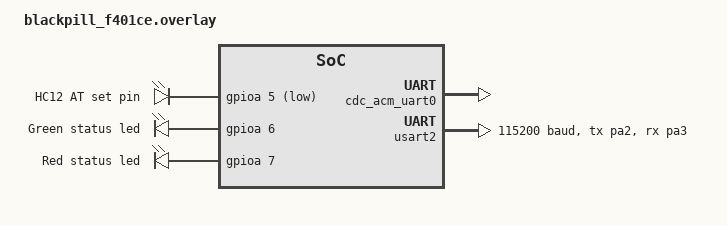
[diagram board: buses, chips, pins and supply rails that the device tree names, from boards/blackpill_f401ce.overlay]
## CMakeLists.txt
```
cmake_path(GET CMAKE_SOURCE_DIR PARENT_PATH PARENT_DIR)
list(APPEND ZEPHYR_EXTRA_MODULES ${PARENT_DIR}/custom_drivers)

cmake_minimum_required(VERSION 3.20.0)
find_package(Zephyr REQUIRED HINTS $ENV{ZEPHYR_BASE})
project(transmitter)

FILE(GLOB app_sources src/*.c*)
target_sources(app PRIVATE ${app_sources})
```

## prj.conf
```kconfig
# gpio
CONFIG_GPIO=y

# logging
CONFIG_LOG=y
CONFIG_LOG_DEFAULT_LEVEL=0

# uart settings
CONFIG_SERIAL=y
CONFIG_UART_INTERRUPT_DRIVEN=y
CONFIG_UART_LINE_CTRL=y

# events
CONFIG_EVENTS=y

# custom drivers
CONFIG_COMMAND_LIB=y
CONFIG_COMMAND_UART=y
```

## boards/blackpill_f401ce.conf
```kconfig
# usb settings for blackpill
CONFIG_USB_DEVICE_STACK=y
CONFIG_USB_DEVICE_PRODUCT="Killer robot transmitter"
```

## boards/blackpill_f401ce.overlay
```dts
/ {
	chosen {
        zephyr,console = &cdc_acm_uart0;
	};

    aliases {
        green-led = &green_led;
        red-led = &red_led;
        hc12 = &usart2;
        hc12-set = &hc12_set;
        usb = &cdc_acm_uart0;
     };
    
    pins {
        compatible = "gpio-leds";
        hc12_set: hc12_set {
            label = "HC12 AT set pin";
            gpios = <&gpioa 5 GPIO_ACTIVE_LOW>;
        };
        green_led: green_led {
            label = "Green status led";
            gpios = <&gpioa 6 GPIO_ACTIVE_HIGH>;
        };
        red_led: red_led {
            label = "Red status led";
            gpios = <&gpioa 7 GPIO_ACTIVE_HIGH>;
        };
    };
};

&zephyr_udc0 {
	cdc_acm_uart0: cdc_acm_uart0 {
		compatible = "zephyr,cdc-acm-uart";
		label = "CDC_ACM_0";
	};
};

&usart2 {
    pinctrl-0 = <&usart2_tx_pa2 &usart2_rx_pa3>;
    pinctrl-names = "default";
    status = "okay";
    current-speed = <115200>;
};
```

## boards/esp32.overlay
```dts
/ {
	aliases {
        green-led = &green_led;
        red-led = &red_led;
        hc12 = &uart2;
        hc12-set = &hc12_set;
        usb = &uart0;
	};

	pins {
		compatible = "gpio-leds";
        hc12_set: hc12_set {
			label = "HC12 AT set pin";
            gpios = <&gpio0 18 GPIO_ACTIVE_HIGH>;
        };
    	green_led: green_led {
			label = "Green status led";
            gpios = <&gpio0 19 GPIO_ACTIVE_HIGH>;
        };
        red_led: red_led {
			label = "Red status led";
            gpios = <&gpio0 21 GPIO_ACTIVE_HIGH>;
        };
    };
};

&uart2 {
	status = "okay";
	current-speed = <115200>;
	pinctrl-0 = <&uart2_default>;
	pinctrl-names = "default";
};
```

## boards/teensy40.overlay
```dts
/ {
    aliases {
        green-led = &green_led;
        red-led = &red_led;
        hc12 = &lpuart2;
        hc12-set = &hc12_set;
        usb = &cdc_acm_uart0;
     };
    
    pins {
        compatible = "gpio-leds";
        hc12_set: hc12_set {
            label = "HC12 AT set pin";
            gpios = <&gpio2 3 GPIO_ACTIVE_HIGH>;
        };
        green_led: green_led {
            label = "Green status led";
            gpios = <&gpio1 16 GPIO_ACTIVE_HIGH>;
        };
        red_led: red_led {
            label = "Red status led";
            gpios = <&gpio1 24 GPIO_ACTIVE_HIGH>;
        };
    };
};

&zephyr_udc0 {
	cdc_acm_uart0: cdc_acm_uart0 {
		compatible = "zephyr,cdc-acm-uart";
		label = "CDC_ACM_0";
	};
};

&lpuart2 {
	status = "okay";
	current-speed = <115200>;
};
```

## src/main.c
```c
#include <zephyr/device.h>
#include <zephyr/drivers/gpio.h>
#include <zephyr/drivers/uart.h>
#include <zephyr/kernel.h>
#include <zephyr/sys/arch_interface.h>
#include <zephyr/logging/log.h>

#ifdef CONFIG_USB_DEVICE_STACK // Include usb if available
#include <zephyr/usb/usb_device.h>
#endif

#include "command.h"
#include "uart_command.h"

#define NUM_THREADS 12
#define STACK_SIZE 2048
#define THREAD_PRIORITY 5

// Register logger
LOG_MODULE_REGISTER(transmitter);

// Create structs for hc12 interface
struct serial_interface hc12_iface;
struct command_writer hc12_writer;
const struct gpio_dt_spec hc12_set = GPIO_DT_SPEC_GET(DT_ALIAS(hc12_set), gpios);
const struct device *hc12_device = DEVICE_DT_GET(DT_ALIAS(hc12));

// Create structs for usb interface
struct serial_interface usb_iface;
struct command_writer usb_writer;
const struct device *usb_device = DEVICE_DT_GET(DT_ALIAS(usb));

// Set up for multiple threads
K_THREAD_STACK_ARRAY_DEFINE(stacks, NUM_THREADS, STACK_SIZE);
static struct k_thread threads[NUM_THREADS];

// leds
const struct gpio_dt_spec green_led =
    GPIO_DT_SPEC_GET(DT_ALIAS(green_led), gpios);
const struct gpio_dt_spec red_led = GPIO_DT_SPEC_GET(DT_ALIAS(red_led), gpios);

/**
 * @brief Initialize leds
 */
void led_init() {
    gpio_pin_configure_dt(&green_led, GPIO_OUTPUT_INACTIVE);
    gpio_pin_configure_dt(&red_led, GPIO_OUTPUT_INACTIVE);
}

/**
 * @brief Blink led
 */
void blink(const struct gpio_dt_spec *led) {
    gpio_pin_set(led->port, led->pin, 1);
    k_msleep(50);
    gpio_pin_set(led->port, led->pin, 0);
}

/**
 * @brief Send ping command from the transmitter
 *
 * @param command Command that triggered this function
 */
void ping_from_transmitter(struct command_data command) {
    int64_t receive_time;
    switch (command.value) {
    // ack and quit if ping is directed for me
    case ping_transmitter:
        send_ack(command, 0);
        blink(&green_led);
        break;

    case ping_robot:
        if (wait_for_ack(send_ping(&hc12_writer), &receive_time)) {
            // message timed out
            send_error(command, error_timeout);
            blink(&red_led);
            break;
        }
        // reply that message was succesfully delivered
        send_ack(command, (uint8_t)receive_time);
        blink(&green_led);
        break;

    default:
        send_error(command, error_value);
        break;
    }
}

/**
 * @brief Callback for threads processing incoming commands on transmitter
 *
 * Process incoming commands to the transmitter and respond to them.
 * This function is meant to be used for threads processing incoming and
 * outgoing commands in parallell.
 *
 * @param p1 Unused
 * @param p2 Unused
 * @param p3 Unused
 */
void thread_callback(void *p1, void *p2, void *p3) {
    // arguments are not used
    ARG_UNUSED(p1);
    ARG_UNUSED(p2);
    ARG_UNUSED(p3);
    // wait for new received commands
    int64_t receive_time;
    struct command_data command;
    struct command_data new_command;
    while (get_command(&command) == 0) {
        LOG_INF(
            "New command %d (id %d) with value %d", 
            command.key, command.id, command.value
        );
        switch (command.key) {
        case error_command: // an error ocurred!
            // acknowledge command, even though an error occurred
            set_ack(command.id);
            // send all errors to usb
            command.writer = &usb_writer;
            send_command(command);
            blink(&red_led);
            break;

        case ack_command: // set ack event when receiving ack
            set_ack(command.id);
            break;

        case ping_command: // send ping
            ping_from_transmitter(command);
            break;

        default: // unrecognized command, send it to robot
            new_command = command;
            new_command.writer = &hc12_writer;
            // send message and wait for ack
            send_command(new_command);
            if (wait_for_ack(command.id, &receive_time)) {
                // message timed out, send error back to original sender
                send_error(command, error_timeout);
                blink(&red_led);
                break;
            }
            // reply that message was succesfully delivered
            send_ack(command, (uint8_t)receive_time);
            blink(&green_led);
            break;
        }
    }
}

void main(void) {
    // init
    led_init();
#ifdef CONFIG_USB_DEVICE_STACK // Enable usb if available
    usb_enable(NULL);
#endif
    // Initialize serial interfaces
    serial_init(&hc12_iface, &hc12_writer, hc12_device, &hc12_set);
    serial_init(&usb_iface, &usb_writer, usb_device, NULL);

    // set up threads
    for (uint8_t i = 0; i < NUM_THREADS; i++) {
        k_thread_create(&threads[i], stacks[i], STACK_SIZE, thread_callback,
                        NULL, NULL, NULL, THREAD_PRIORITY, 0, K_NO_WAIT);
    }

    // blink led when starting
    blink(&red_led);
    blink(&green_led);

    LOG_INF("Setup done");
}
```
